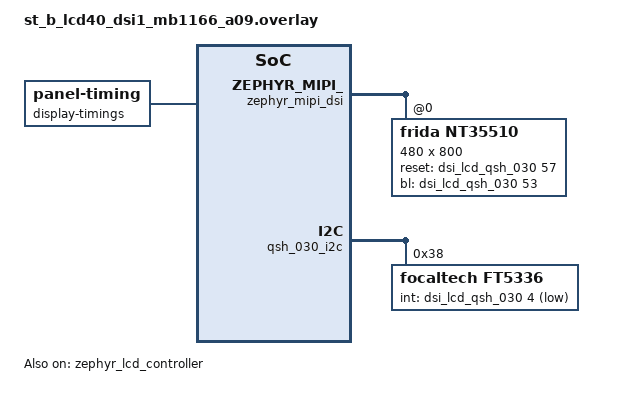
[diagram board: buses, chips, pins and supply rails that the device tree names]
/*
 * Copyright (c) 2024 Erik Andersson <erian747@gmail.com>
 *
 * SPDX-License-Identifier: Apache-2.0
 */

#include <zephyr/dt-bindings/display/panel.h>

/ {
	lvgl_pointer {
		compatible = "zephyr,lvgl-pointer-input";
		input = <&ft5336>;
		invert-y;
	};

	chosen {
		zephyr,display = &zephyr_lcd_controller;
	};
};

&zephyr_mipi_dsi {
	status = "okay";

	nt35510: nt35510@0 {
		status = "okay";
		compatible = "frida,nt35510";
		reg = <0x0>;
		height = <800>;
		width = <480>;
		reset-gpios = <&dsi_lcd_qsh_030 57 GPIO_ACTIVE_HIGH>;
		bl-gpios = <&dsi_lcd_qsh_030 53 GPIO_ACTIVE_HIGH>;
		data-lanes = <2>;
		pixel-format = <MIPI_DSI_PIXFMT_RGB888>;
		rotation = <90>;
	};
};

&zephyr_lcd_controller {
	status = "okay";
	width = <800>;
	height = <480>;
	pixel-format = <PANEL_PIXEL_FORMAT_RGB_888>;

	/* frida, nt35510 */
	display-timings {
		compatible = "zephyr,panel-timing";
		hsync-active = <0>;
		vsync-active = <0>;
		de-active = <0>;
		pixelclk-active = <0>;
		hsync-len = <2>;
		vsync-len = <120>;
		hback-porch = <34>;
		vback-porch = <150>;
		hfront-porch = <34>;
		vfront-porch = <150>;
	};
};

&qsh_030_i2c {
	ft5336: ft5336@38 {
		compatible = "focaltech,ft5336";
		reg = <0x38>;
		int-gpios = <&dsi_lcd_qsh_030 4 GPIO_ACTIVE_LOW>;
		status = "okay";
	};
};
